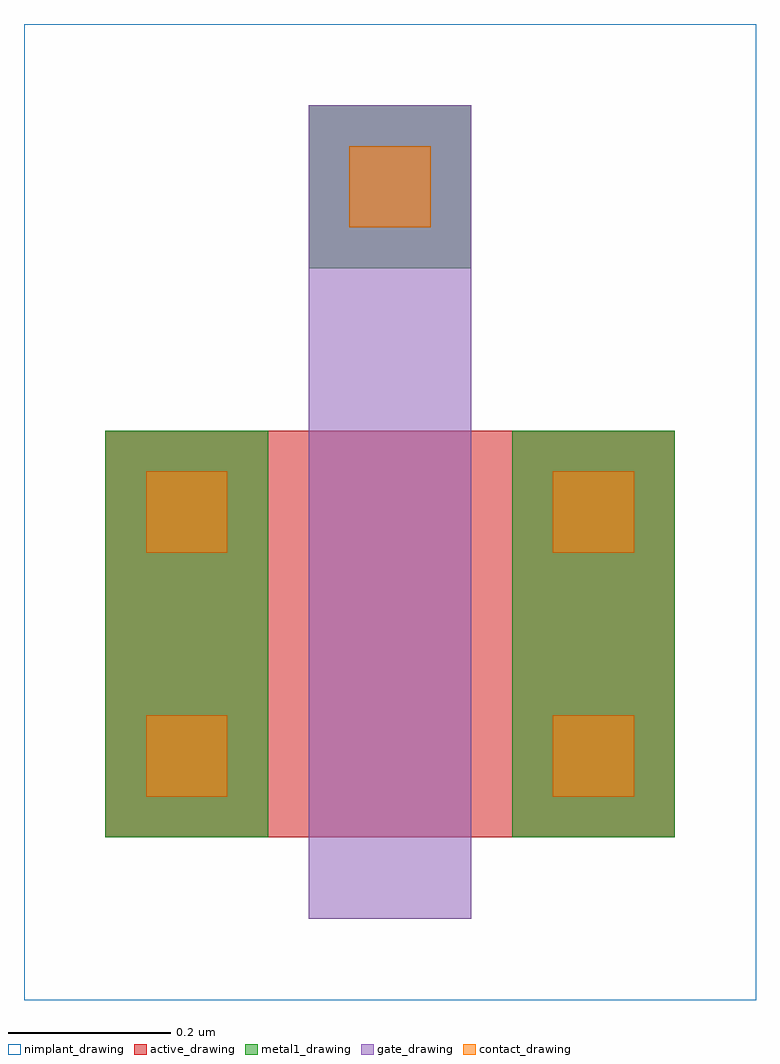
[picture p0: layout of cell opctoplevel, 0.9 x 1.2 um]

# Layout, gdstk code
import gdstk
lib = gdstk.Library(unit=1e-6, precision=1e-09)
def R(c, l, rs):  # rectangles x0, y0, x1, y1
    for r in rs: c.add(gdstk.rectangle(r[:2], r[2:], *l))
active_drawing = (1, 0)
nimplant_drawing = (5, 0)
gate_drawing = (6, 0)
contact_drawing = (7, 0)
metal1_drawing = (8, 0)

opctoplevel = lib.new_cell('opctoplevel')
R(opctoplevel, active_drawing, [(-0.25,0,0.45,0.5)])
R(opctoplevel, nimplant_drawing, [(-0.35,-0.2,0.55,1)])
R(opctoplevel, gate_drawing, [(0,-0.1,0.2,0.9)])
R(opctoplevel, contact_drawing, [(-0.2,0.05,-0.1,0.15), (0.3,0.05,0.4,0.15), (-0.2,0.35,-0.1,0.45), (0.3,0.35,0.4,0.45), (0.05,0.75,0.15,0.85)])
R(opctoplevel, metal1_drawing, [(-0.25,0,-0.05,0.5), (0.25,0,0.45,0.5), (0,0.7,0.2,0.9)])

lib.write_gds('opctoplevel.gds')
